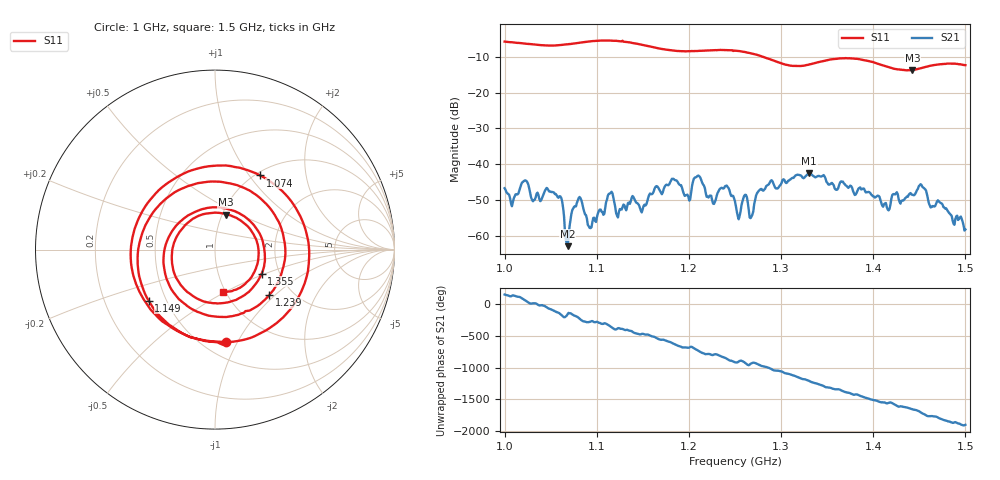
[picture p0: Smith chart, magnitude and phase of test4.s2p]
# HZ S RI R 50
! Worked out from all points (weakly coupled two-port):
!   505 points, 1 GHz to 1.5 GHz, reference 50 ohm
!   highest |S21| = -42.45 dB at 1.33 GHz (marker M1); lowest = -62.9 dB at 1.068 GHz (marker M2)
!   lowest |S11| = -13.8 dB at 1.442 GHz (marker M3), VSWR 1.52, Z = 52.1 + j21.3 ohm
!   |S11| at or under -10 dB: 1.281 GHz to end of sweep
!   S12 and S22 are empty: the file has one direction only
!   S11 on the Smith chart (normalised r, x): 1 GHz: 0.64, -0.90; 1.074 GHz: 1.05, +1.13; 1.149 GHz: 0.40, -0.29; 1.239 GHz: 1.54, -0.92; 1.355 GHz: 1.62, -0.47; 1.5 GHz: 0.97, -0.49
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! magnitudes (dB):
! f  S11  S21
! 1 GHz  -5.7  -46.7
! 1.06 GHz  -6.7  -49.0
! 1.068 GHz  -6.5  -62.9
! 1.074 GHz  -6.3  -52.3
! 1.083 GHz  -6.0  -50.1
! 1.092 GHz  -5.7  -57.8
! 1.115 GHz  -5.5  -48.0
! 1.122 GHz  -5.5  -54.4
! 1.149 GHz  -6.6  -53.5
! 1.167 GHz  -7.6  -46.5
! 1.21 GHz  -8.3  -43.2
! 1.227 GHz  -8.1  -51.1
! 1.239 GHz  -8.1  -46.2
! 1.25 GHz  -8.3  -50.4
! 1.268 GHz  -9.0  -54.6
! 1.289 GHz  -10.7  -44.7
! 1.33 GHz  -12.1  -42.4
! 1.333 GHz  -12.0  -42.9
! 1.355 GHz  -10.7  -45.2
! 1.417 GHz  -12.9  -52.9
! 1.442 GHz  -13.8  -48.5
! 1.5 GHz  -12.3  -58.2
